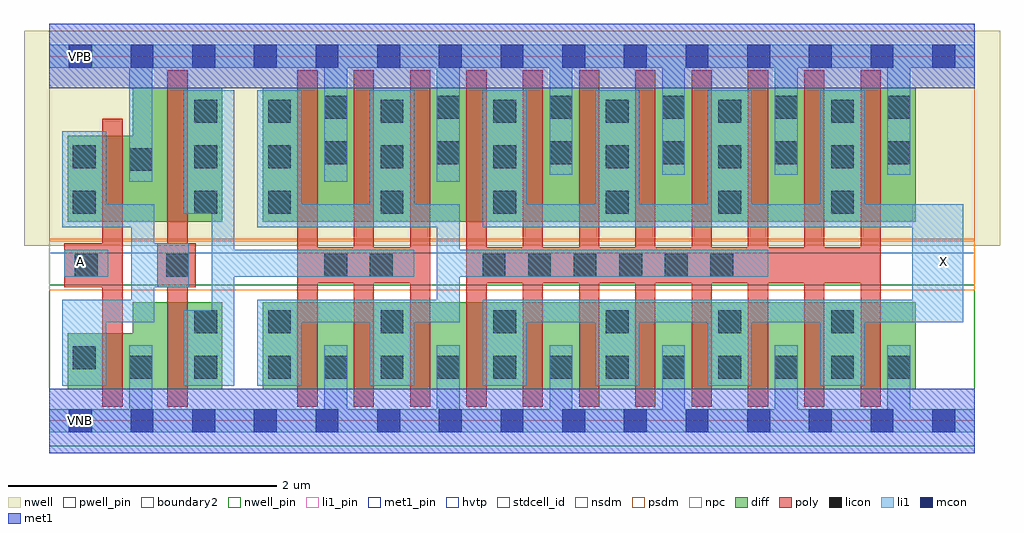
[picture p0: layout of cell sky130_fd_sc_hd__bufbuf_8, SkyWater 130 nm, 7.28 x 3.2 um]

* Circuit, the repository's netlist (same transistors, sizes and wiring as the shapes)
* Copyright 2020 The SkyWater PDK Authors
*
* Licensed under the Apache License, Version 2.0 (the "License");
* you may not use this file except in compliance with the License.
* You may obtain a copy of the License at
*
*     https://www.apache.org/licenses/LICENSE-2.0
*
* Unless required by applicable law or agreed to in writing, software
* distributed under the License is distributed on an "AS IS" BASIS,
* WITHOUT WARRANTIES OR CONDITIONS OF ANY KIND, either express or implied.
* See the License for the specific language governing permissions and
* limitations under the License.
*
* SPDX-License-Identifier: Apache-2.0


.subckt sky130_fd_sc_hd__bufbuf_8 A VGND VNB VPB VPWR X
X0 X a_318_47# VGND VNB sky130_fd_pr__nfet_01v8 w=650000u l=150000u
X1 X a_318_47# VGND VNB sky130_fd_pr__nfet_01v8 w=650000u l=150000u
X2 X a_318_47# VPWR VPB sky130_fd_pr__pfet_01v8_hvt w=1 l=150000u
X3 VGND a_318_47# X VNB sky130_fd_pr__nfet_01v8 w=650000u l=150000u
X4 X a_318_47# VPWR VPB sky130_fd_pr__pfet_01v8_hvt w=1 l=150000u
X5 VGND a_318_47# X VNB sky130_fd_pr__nfet_01v8 w=650000u l=150000u
X6 VPWR a_318_47# X VPB sky130_fd_pr__pfet_01v8_hvt w=1 l=150000u
X7 X a_318_47# VPWR VPB sky130_fd_pr__pfet_01v8_hvt w=1 l=150000u
X8 VPWR a_318_47# X VPB sky130_fd_pr__pfet_01v8_hvt w=1 l=150000u
X9 a_318_47# a_206_47# VGND VNB sky130_fd_pr__nfet_01v8 w=650000u l=150000u
X10 X a_318_47# VGND VNB sky130_fd_pr__nfet_01v8 w=650000u l=150000u
X11 VGND a_27_47# a_206_47# VNB sky130_fd_pr__nfet_01v8 w=650000u l=150000u
X12 VGND a_206_47# a_318_47# VNB sky130_fd_pr__nfet_01v8 w=650000u l=150000u
X13 a_318_47# a_206_47# VPWR VPB sky130_fd_pr__pfet_01v8_hvt w=1 l=150000u
X14 X a_318_47# VPWR VPB sky130_fd_pr__pfet_01v8_hvt w=1 l=150000u
X15 a_27_47# A VGND VNB sky130_fd_pr__nfet_01v8 w=420000u l=150000u
X16 a_318_47# a_206_47# VGND VNB sky130_fd_pr__nfet_01v8 w=650000u l=150000u
X17 VPWR a_27_47# a_206_47# VPB sky130_fd_pr__pfet_01v8_hvt w=1 l=150000u
X18 VGND a_318_47# X VNB sky130_fd_pr__nfet_01v8 w=650000u l=150000u
X19 a_27_47# A VPWR VPB sky130_fd_pr__pfet_01v8_hvt w=640000u l=150000u
X20 VPWR a_206_47# a_318_47# VPB sky130_fd_pr__pfet_01v8_hvt w=1 l=150000u
X21 VPWR a_318_47# X VPB sky130_fd_pr__pfet_01v8_hvt w=1 l=150000u
X22 VGND a_318_47# X VNB sky130_fd_pr__nfet_01v8 w=650000u l=150000u
X23 VPWR a_318_47# X VPB sky130_fd_pr__pfet_01v8_hvt w=1 l=150000u
X24 X a_318_47# VGND VNB sky130_fd_pr__nfet_01v8 w=650000u l=150000u
X25 a_318_47# a_206_47# VPWR VPB sky130_fd_pr__pfet_01v8_hvt w=1 l=150000u
.ends

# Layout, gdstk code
import gdstk
lib = gdstk.Library(unit=1e-6, precision=1e-09)
def R(c, l, rs):  # rectangles x0, y0, x1, y1
    for r in rs: c.add(gdstk.rectangle(r[:2], r[2:], *l))
def A(c, l, x, y, w, h, nx, ny, dx, dy):  # array of equal rectangles
    R(c, l, [(x+i*dx, y+j*dy, x+i*dx+w, y+j*dy+h) for i in range(nx) for j in range(ny)])
def P(c, l, *ps):  # polygons
    for p in ps: c.add(gdstk.Polygon(p, *l))
nwell_pin = (64, 16)
nwell = (64, 20)
diff = (65, 20)
poly = (66, 20)
licon = (66, 44)
li1_pin = (67, 16)
li1 = (67, 20)
mcon = (67, 44)
met1_pin = (68, 16)
met1 = (68, 20)
hvtp = (78, 44)
stdcell_id = (81, 4)
nsdm = (93, 44)
psdm = (94, 20)
npc = (95, 20)
pwell_pin = (122, 16)
boundary2 = (236, 0)

sky130_fd_sc_hd__bufbuf_ = lib.new_cell('sky130_fd_sc_hd__bufbuf_8')
R(sky130_fd_sc_hd__bufbuf_, nwell_pin, [(0.15,2.635,0.32,2.805)])
R(sky130_fd_sc_hd__bufbuf_, nwell, [(-0.19,1.305,7.09,2.91)])
R(sky130_fd_sc_hd__bufbuf_, diff, [(1.59,0.235,6.46,0.885), (1.59,1.485,6.46,2.485)])
P(sky130_fd_sc_hd__bufbuf_, diff, [(0.135,1.485),(0.135,2.125),(0.62,2.125),(0.62,2.485),(1.29,2.485),(1.29,1.485)],
  [(0.135,0.235),(0.135,0.655),(0.62,0.655),(0.62,0.885),(1.29,0.885),(1.29,0.235)])
P(sky130_fd_sc_hd__bufbuf_, poly, [(0.395,0.105),(0.395,0.995),(0.11,0.995),(0.11,1.325),(0.395,1.325),(0.395,2.255),(0.545,2.255),(0.545,0.105)],
  [(0.88,0.105),(0.88,0.995),(0.805,0.995),(0.805,1.325),(0.88,1.325),(0.88,2.615),(1.03,2.615),(1.03,1.325),(1.09,1.325),(1.09,0.995),(1.03,0.995),(1.03,0.105)],
  [(1.85,0.105),(1.85,2.615),(2,2.615),(2,1.295),(2.27,1.295),(2.27,2.615),(2.42,2.615),(2.42,1.295),(2.69,1.295),(2.69,2.615),(2.84,2.615),(2.84,0.105),(2.69,0.105),(2.69,1.025),(2.42,1.025),(2.42,0.105),(2.27,0.105),(2.27,1.025),(2,1.025),(2,0.105)],
  [(3.11,0.105),(3.11,2.615),(3.26,2.615),(3.26,1.295),(3.53,1.295),(3.53,2.615),(3.68,2.615),(3.68,1.295),(3.95,1.295),(3.95,2.615),(4.1,2.615),(4.1,1.295),(4.37,1.295),(4.37,2.615),(4.52,2.615),(4.52,1.295),(4.79,1.295),(4.79,2.615),(4.94,2.615),(4.94,1.295),(5.21,1.295),(5.21,2.615),(5.36,2.615),(5.36,1.295),(5.63,1.295),(5.63,2.615),(5.78,2.615),(5.78,1.295),(6.05,1.295),(6.05,2.615),(6.2,2.615),(6.2,0.105),(6.05,0.105),(6.05,1.025),(5.78,1.025),(5.78,0.105),(5.63,0.105),(5.63,1.025),(5.36,1.025),(5.36,0.105),(5.21,0.105),(5.21,1.025),(4.94,1.025),(4.94,0.105),(4.79,0.105),(4.79,1.025),(4.52,1.025),(4.52,0.105),(4.37,0.105),(4.37,1.025),(4.1,1.025),(4.1,0.105),(3.95,0.105),(3.95,1.025),(3.68,1.025),(3.68,0.105),(3.53,0.105),(3.53,1.025),(3.26,1.025),(3.26,0.105)])
A(sky130_fd_sc_hd__bufbuf_, licon, 1.63, 0.315, 0.17, 0.17, 12, 1, 0.42, 0)
A(sky130_fd_sc_hd__bufbuf_, licon, 1.63, 0.655, 0.17, 0.17, 6, 2, 0.84, 0.89)
A(sky130_fd_sc_hd__bufbuf_, licon, 3.23, 1.075, 0.17, 0.17, 6, 1, 0.34, 0)
A(sky130_fd_sc_hd__bufbuf_, licon, 1.08, 1.545, 0.17, 0.17, 1, 3, 0, 0.34)
A(sky130_fd_sc_hd__bufbuf_, licon, 1.63, 1.885, 0.17, 0.17, 6, 2, 0.84, 0.34)
A(sky130_fd_sc_hd__bufbuf_, licon, 2.05, 1.915, 0.17, 0.17, 6, 2, 0.84, 0.34)
R(sky130_fd_sc_hd__bufbuf_, licon, [(0.595,0.315,0.765,0.485), (1.08,0.315,1.25,0.485), (0.175,0.385,0.345,0.555), (1.08,0.655,1.25,0.825), (0.19,1.075,0.36,1.245), (0.87,1.075,1.04,1.245), (2.05,1.075,2.22,1.245), (2.39,1.075,2.56,1.245), (0.175,1.545,0.345,1.715), (0.595,1.865,0.765,2.035), (0.175,1.885,0.345,2.055)])
R(sky130_fd_sc_hd__bufbuf_, li1_pin, [(6.435,0.735,6.815,1.615), (0.11,1.075,0.44,1.275)])
R(sky130_fd_sc_hd__bufbuf_, li1, [(0.11,1.075,0.44,1.275)])
P(sky130_fd_sc_hd__bufbuf_, li1, [(0.095,0.26),(0.095,0.905),(0.61,0.905),(0.61,1.445),(0.095,1.445),(0.095,2.16),(0.425,2.16),(0.425,1.615),(0.78,1.615),(0.78,1.325),(1.04,1.325),(1.04,0.995),(0.78,0.995),(0.78,0.735),(0.425,0.735),(0.425,0.26)],
  [(0,-0.085),(0,0.085),(0.595,0.085),(0.595,0.565),(0.765,0.565),(0.765,0.085),(2.05,0.085),(2.05,0.565),(2.22,0.565),(2.22,0.085),(2.89,0.085),(2.89,0.565),(3.06,0.565),(3.06,0.085),(3.73,0.085),(3.73,0.565),(3.9,0.565),(3.9,0.085),(4.57,0.085),(4.57,0.565),(4.74,0.565),(4.74,0.085),(5.41,0.085),(5.41,0.565),(5.58,0.565),(5.58,0.085),(6.25,0.085),(6.25,0.565),(6.42,0.565),(6.42,0.085),(6.9,0.085),(6.9,-0.085)],
  [(0.595,1.785),(0.595,2.635),(0,2.635),(0,2.805),(6.9,2.805),(6.9,2.635),(6.42,2.635),(6.42,1.835),(6.25,1.835),(6.25,2.635),(5.58,2.635),(5.58,1.835),(5.41,1.835),(5.41,2.635),(4.74,2.635),(4.74,1.835),(4.57,1.835),(4.57,2.635),(3.9,2.635),(3.9,1.835),(3.73,1.835),(3.73,2.635),(3.06,2.635),(3.06,1.785),(2.89,1.785),(2.89,2.635),(2.22,2.635),(2.22,1.785),(2.05,1.785),(2.05,2.635),(0.765,2.635),(0.765,1.785)],
  [(1,0.26),(1,0.825),(1.21,0.825),(1.21,1.545),(1,1.545),(1,2.465),(1.38,2.465),(1.38,1.275),(2.72,1.275),(2.72,1.075),(1.38,1.075),(1.38,0.26)],
  [(1.55,0.26),(1.55,0.905),(2.89,0.905),(2.89,1.445),(1.55,1.445),(1.55,2.465),(1.88,2.465),(1.88,1.615),(2.39,1.615),(2.39,2.465),(2.72,2.465),(2.72,1.615),(3.06,1.615),(3.06,1.275),(5.36,1.275),(5.36,1.075),(3.06,1.075),(3.06,0.735),(2.72,0.735),(2.72,0.26),(2.39,0.26),(2.39,0.735),(1.88,0.735),(1.88,0.26)],
  [(3.23,0.26),(3.23,0.905),(6.435,0.905),(6.435,1.445),(3.23,1.445),(3.23,2.465),(3.56,2.465),(3.56,1.615),(4.07,1.615),(4.07,2.465),(4.4,2.465),(4.4,1.615),(4.91,1.615),(4.91,2.465),(5.24,2.465),(5.24,1.615),(5.75,1.615),(5.75,2.465),(6.08,2.465),(6.08,1.615),(6.815,1.615),(6.815,0.735),(6.08,0.735),(6.08,0.26),(5.75,0.26),(5.75,0.735),(5.24,0.735),(5.24,0.26),(4.91,0.26),(4.91,0.735),(4.4,0.735),(4.4,0.26),(4.07,0.26),(4.07,0.735),(3.56,0.735),(3.56,0.26)])
A(sky130_fd_sc_hd__bufbuf_, mcon, 0.145, -0.085, 0.17, 0.17, 15, 2, 0.46, 2.72)
R(sky130_fd_sc_hd__bufbuf_, met1_pin, [(0,-0.24,6.9,0.24), (0,2.48,6.9,2.96)])
R(sky130_fd_sc_hd__bufbuf_, met1, [(0,-0.24,6.9,0.24), (0,2.48,6.9,2.96)])
R(sky130_fd_sc_hd__bufbuf_, hvtp, [(0,1.25,6.9,2.72)])
R(sky130_fd_sc_hd__bufbuf_, stdcell_id, [(0,0,6.9,2.72)])
R(sky130_fd_sc_hd__bufbuf_, nsdm, [(0,-0.19,6.9,1.015)])
R(sky130_fd_sc_hd__bufbuf_, psdm, [(0,1.355,6.9,2.91)])
R(sky130_fd_sc_hd__bufbuf_, npc, [(0,0.975,6.9,1.345)])
R(sky130_fd_sc_hd__bufbuf_, pwell_pin, [(0.15,-0.085,0.32,0.085)])
R(sky130_fd_sc_hd__bufbuf_, boundary2, [(0,0,6.9,2.72)])
sky130_fd_sc_hd__bufbuf_.add(gdstk.Label('A', (0.235,1.19), layer=67, texttype=5))
sky130_fd_sc_hd__bufbuf_.add(gdstk.Label('X', (6.67,1.19), layer=67, texttype=5))
sky130_fd_sc_hd__bufbuf_.add(gdstk.Label('VNB', (0.235,0), layer=64, texttype=59))
sky130_fd_sc_hd__bufbuf_.add(gdstk.Label('VPB', (0.235,2.72), layer=64, texttype=5))
sky130_fd_sc_hd__bufbuf_.add(gdstk.Label('VGND', (0.23,0), layer=68, texttype=5))
sky130_fd_sc_hd__bufbuf_.add(gdstk.Label('VPWR', (0.235,2.72), layer=68, texttype=5))
sky130_fd_sc_hd__bufbuf_.add(gdstk.Label('bufbuf_8', (0,0), layer=83, texttype=44))

lib.write_gds('sky130_fd_sc_hd__bufbuf_8.gds')
